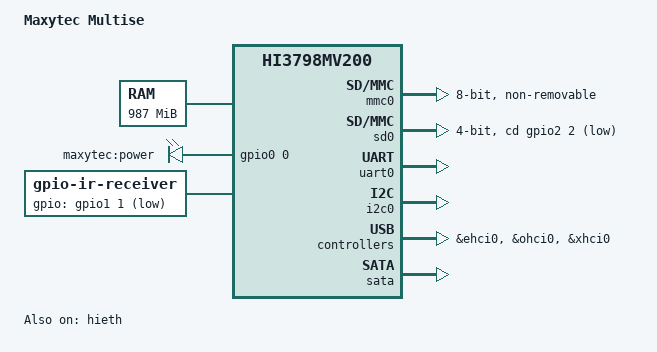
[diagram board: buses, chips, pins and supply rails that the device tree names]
// SPDX-License-Identifier: GPL-2.0
/*
 * DTS File for Maxytec Multise Board based on HiSilicon Hi3798mv200 SoC
 *
 * Copyright (c) 2025 Arnold Schiller
 */

/dts-v1/;

#include <dt-bindings/gpio/gpio.h>
#include "hi3798mv200.dtsi"

/ {
    model = "Maxytec Multise";
    compatible = "maxytec,multise", "hisilicon,hi3798mv200";

    /* Define board-specific memory configuration */
    memory@0 {
        device_type = "memory";
        reg = <0x0 0x3db00000>; /* 987 MB, as per bootargs mem=987M */
    };

    /* Boot arguments for the board */
    chosen {
        bootargs = "root=/dev/mmcblk0p23 rootsubdir=linuxrootfs1 rootfstype=ext4 kernel=/dev/mmcblk0p19 console=ttyAMA0,115200 blkdevparts=mmcblk0:1M(fastboot),1M(bootargs),18M(recovery),2M(bootoptions),2M(deviceinfo),4M(baseparam),4M(pqparam),4M(logo),40M(fastplay),20M(boot),20M(trustedcore),4M(misc),1024M(system),150M(vendor),306M(e2tv),256M(cache),50M(dtbo),8M(securestore),16M(linuxkernel1),16M(linuxkernel2),16M(linuxkernel3),16M(linuxkernel4),-(userdata) mem=987M mmz=ddr,0,0,44M vmalloc=500M";
        stdout-path = "serial0:115200n8";
    };

    /* Aliases for board-specific nodes */
    aliases {
        serial0 = &uart0;
        led0 = &led_power;
    };

    /* LED configuration (example for a power LED) */
    leds {
        compatible = "gpio-leds";

        led_power: led-power {
            label = "maxytec:power";
            gpios = <&gpio0 0 GPIO_ACTIVE_HIGH>;
            default-state = "on";
        };
    };

    /* Infrared receiver (assuming a common IR setup) */
    ir {
        compatible = "gpio-ir-receiver";
        gpios = <&gpio1 1 GPIO_ACTIVE_LOW>;
        linux,rc-map-name = "rc-hisi";
    };
};

/* Board-specific peripheral configurations */
&mmc0 {
    /* eMMC configuration */
    bus-width = <8>;
    non-removable;
};

&sd0 {
    /* SD card slot configuration */
    bus-width = <4>;
    cd-gpios = <&gpio2 2 GPIO_ACTIVE_LOW>;
};

&uart0 {
    /* Console UART */
    status = "okay";
};

&hieth {
    /* Ethernet configuration */
    phy-mode = "rgmii";
    mac-address = [00 14 49 a4 96 31];
    status = "okay";
};

&i2c0 {
    /* I2C bus for potential peripherals (e.g., audio codec, HDMI) */
    status = "okay";
};

&usb {
    /* Enable USB host controllers */
    &ehci0 {
        status = "okay";
    };

    &ohci0 {
        status = "okay";
    };

    &xhci0 {
        status = "okay";
    };
};

&sata {
    /* SATA for potential storage */
    status = "okay";
};
